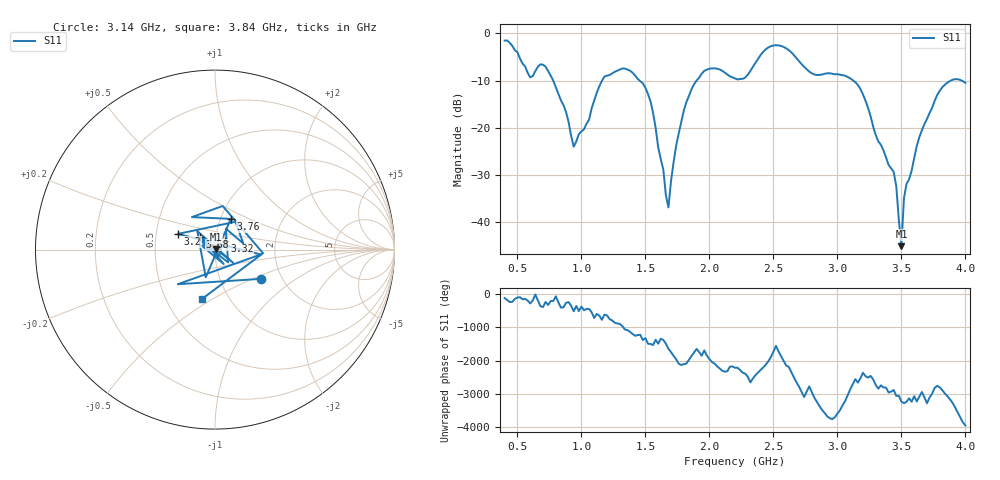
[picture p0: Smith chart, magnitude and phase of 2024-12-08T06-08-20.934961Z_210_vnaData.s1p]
!Created with skrf (http://scikit-rf.org).
# Hz S RI R 50.0
!freq ReS11 ImS11
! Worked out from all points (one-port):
!   181 points, 400 MHz to 4 GHz, reference 50 ohm
!   lowest |S11| = -45.1 dB at 3.5 GHz (marker M1), VSWR 1.01, Z = 50.5 + j0.151 ohm
!   |S11| at or under -10 dB: 779.7 MHz to 1.162 GHz (382.1 MHz wide, 39.4 % of centre); 1.454 GHz to 1.9 GHz (446.5 MHz wide, 26.6 % of centre); 3.123 GHz to 3.887 GHz (764.1 MHz wide, 21.8 % of centre) (the widest 3 of 4)
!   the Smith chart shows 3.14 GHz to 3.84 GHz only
!   S11 on the Smith chart (normalised r, x): 3.14 GHz: 1.57, -0.56; 3.2 GHz: 0.65, +0.12; 3.32 GHz: 1.11, +0.10; 3.68 GHz: 0.84, +0.12; 3.76 GHz: 1.12, +0.40; 3.84 GHz: 0.75, -0.45
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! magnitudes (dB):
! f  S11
! 400 MHz  -1.5
! 600 MHz  -9.3
! 720 MHz  -7.0
! 860 MHz  -15.2
! 940 MHz  -24.0
! 1.18 GHz  -9.2
! 1.3 GHz  -7.7
! 1.52 GHz  -12.9
! 1.68 GHz  -36.9
! 1.76 GHz  -21.3
! 1.86 GHz  -11.9
! 1.96 GHz  -8.0
! 2.2 GHz  -9.6
! 2.48 GHz  -2.7
! 2.66 GHz  -4.6
! 2.82 GHz  -8.7
! 3.1 GHz  -9.5
! 3.14 GHz  -10.4
! 3.2 GHz  -13.0
! 3.32 GHz  -22.9
! 3.44 GHz  -29.4
! 3.5 GHz  -45.1
! 3.52 GHz  -35.0
! 3.56 GHz  -31.0
! 3.68 GHz  -19.2
! 3.76 GHz  -14.3
! 3.84 GHz  -10.9
! 4 GHz  -10.5
